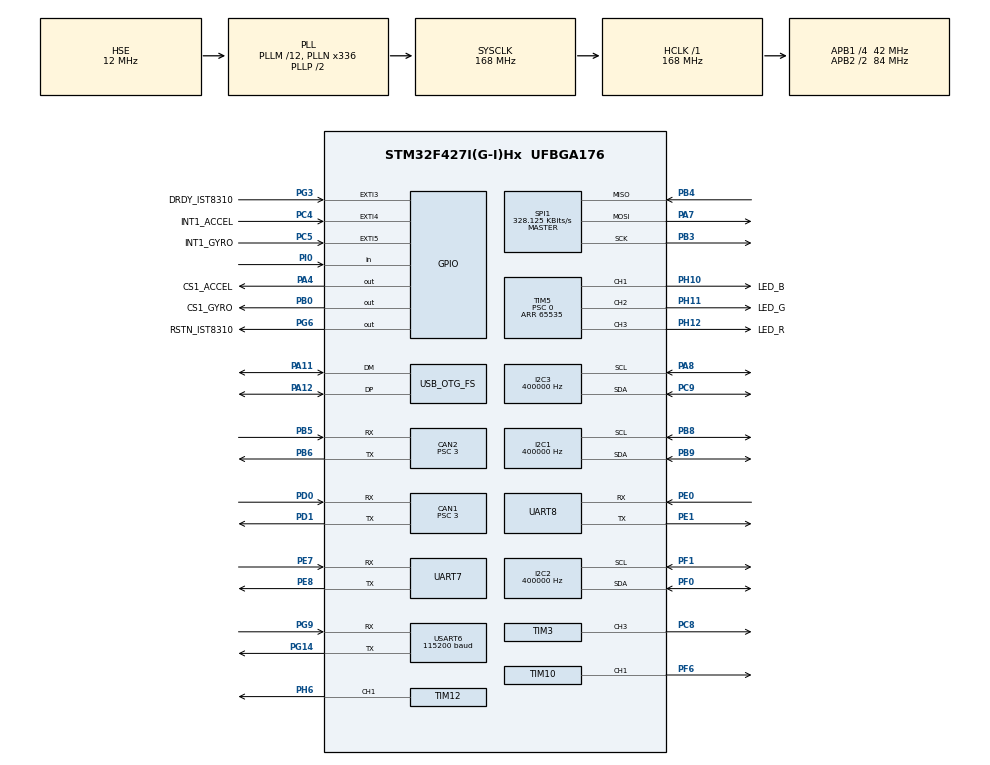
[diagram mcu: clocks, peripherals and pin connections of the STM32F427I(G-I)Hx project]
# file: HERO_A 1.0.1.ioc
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CAN1.ABOM=DISABLE
CAN1.AWUM=DISABLE
CAN1.BS1=CAN_BS1_10TQ
CAN1.BS2=CAN_BS2_3TQ
CAN1.CalculateBaudRate=1000000
CAN1.CalculateTimeBit=999.99
CAN1.CalculateTimeQuantum=71.42857142857143
CAN1.Mode=CAN_MODE_NORMAL
CAN1.NART=DISABLE
CAN1.Prescaler=3
CAN1.RFLM=DISABLE
CAN1.SJW=CAN_SJW_1TQ
CAN1.TTCM=DISABLE
CAN1.TXFP=DISABLE
CAN2.ABOM=DISABLE
CAN2.AWUM=DISABLE
CAN2.BS1=CAN_BS1_10TQ
CAN2.BS2=CAN_BS2_3TQ
CAN2.CalculateBaudRate=1000000
CAN2.CalculateTimeBit=999.99
CAN2.CalculateTimeQuantum=71.42857142857143
CAN2.Mode=CAN_MODE_NORMAL
CAN2.NART=DISABLE
CAN2.Prescaler=3
CAN2.RFLM=DISABLE
CAN2.SJW=CAN_SJW_1TQ
CAN2.TTCM=DISABLE
CAN2.TXFP=DISABLE
Dma.I2C2_TX.4.Direction=DMA_MEMORY_TO_PERIPH
Dma.I2C2_TX.4.FIFOMode=DMA_FIFOMODE_DISABLE
Dma.I2C2_TX.4.Instance=DMA1_Stream7
Dma.I2C2_TX.4.MemDataAlignment=DMA_MDATAALIGN_BYTE
Dma.I2C2_TX.4.MemInc=DMA_MINC_ENABLE
Dma.I2C2_TX.4.Mode=DMA_NORMAL
Dma.I2C2_TX.4.PeriphDataAlignment=DMA_PDATAALIGN_BYTE
Dma.I2C2_TX.4.PeriphInc=DMA_PINC_DISABLE
Dma.I2C2_TX.4.Priority=DMA_PRIORITY_HIGH
Dma.Request0=SPI1_RX
Dma.Request1=SPI1_TX
Dma.Request2=USART6_RX
Dma.Request3=USART6_TX
Dma.Request4=I2C2_TX
Dma.Request5=UART7_RX
Dma.Request6=UART7_TX
Dma.Request7=UART8_RX
Dma.Request8=UART8_TX
Dma.SPI1_RX.0.Direction=DMA_PERIPH_TO_MEMORY
Dma.SPI1_RX.0.FIFOMode=DMA_FIFOMODE_DISABLE
Dma.SPI1_RX.0.Instance=DMA2_Stream2
Dma.SPI1_RX.0.MemDataAlignment=DMA_MDATAALIGN_BYTE
Dma.SPI1_RX.0.MemInc=DMA_MINC_ENABLE
Dma.SPI1_RX.0.Mode=DMA_NORMAL
Dma.SPI1_RX.0.PeriphDataAlignment=DMA_PDATAALIGN_BYTE
Dma.SPI1_RX.0.PeriphInc=DMA_PINC_DISABLE
Dma.SPI1_RX.0.Priority=DMA_PRIORITY_VERY_HIGH
Dma.SPI1_TX.1.Direction=DMA_MEMORY_TO_PERIPH
Dma.SPI1_TX.1.FIFOMode=DMA_FIFOMODE_DISABLE
Dma.SPI1_TX.1.Instance=DMA2_Stream3
Dma.SPI1_TX.1.MemDataAlignment=DMA_MDATAALIGN_BYTE
Dma.SPI1_TX.1.MemInc=DMA_MINC_ENABLE
Dma.SPI1_TX.1.Mode=DMA_NORMAL
Dma.SPI1_TX.1.PeriphDataAlignment=DMA_PDATAALIGN_BYTE
Dma.SPI1_TX.1.PeriphInc=DMA_PINC_DISABLE
Dma.SPI1_TX.1.Priority=DMA_PRIORITY_HIGH
Dma.UART7_RX.5.Direction=DMA_PERIPH_TO_MEMORY
Dma.UART7_RX.5.FIFOMode=DMA_FIFOMODE_DISABLE
Dma.UART7_RX.5.Instance=DMA1_Stream3
Dma.UART7_RX.5.MemDataAlignment=DMA_MDATAALIGN_BYTE
Dma.UART7_RX.5.MemInc=DMA_MINC_ENABLE
Dma.UART7_RX.5.Mode=DMA_CIRCULAR
Dma.UART7_RX.5.PeriphDataAlignment=DMA_PDATAALIGN_BYTE
Dma.UART7_RX.5.PeriphInc=DMA_PINC_DISABLE
Dma.UART7_RX.5.Priority=DMA_PRIORITY_LOW
Dma.UART7_TX.6.Direction=DMA_MEMORY_TO_PERIPH
Dma.UART7_TX.6.FIFOMode=DMA_FIFOMODE_DISABLE
Dma.UART7_TX.6.Instance=DMA1_Stream1
Dma.UART7_TX.6.MemDataAlignment=DMA_MDATAALIGN_BYTE
Dma.UART7_TX.6.MemInc=DMA_MINC_ENABLE
Dma.UART7_TX.6.Mode=DMA_NORMAL
Dma.UART7_TX.6.PeriphDataAlignment=DMA_PDATAALIGN_BYTE
Dma.UART7_TX.6.PeriphInc=DMA_PINC_DISABLE
Dma.UART7_TX.6.Priority=DMA_PRIORITY_LOW
Dma.UART8_RX.7.Direction=DMA_PERIPH_TO_MEMORY
Dma.UART8_RX.7.FIFOMode=DMA_FIFOMODE_DISABLE
Dma.UART8_RX.7.Instance=DMA1_Stream6
Dma.UART8_RX.7.MemDataAlignment=DMA_MDATAALIGN_BYTE
Dma.UART8_RX.7.MemInc=DMA_MINC_ENABLE
Dma.UART8_RX.7.Mode=DMA_NORMAL
Dma.UART8_RX.7.PeriphDataAlignment=DMA_PDATAALIGN_BYTE
Dma.UART8_RX.7.PeriphInc=DMA_PINC_DISABLE
Dma.UART8_RX.7.Priority=DMA_PRIORITY_LOW
Dma.UART8_TX.8.Direction=DMA_MEMORY_TO_PERIPH
Dma.UART8_TX.8.FIFOMode=DMA_FIFOMODE_DISABLE
Dma.UART8_TX.8.Instance=DMA1_Stream0
Dma.UART8_TX.8.MemDataAlignment=DMA_MDATAALIGN_BYTE
Dma.UART8_TX.8.MemInc=DMA_MINC_ENABLE
Dma.UART8_TX.8.Mode=DMA_NORMAL
Dma.UART8_TX.8.PeriphDataAlignment=DMA_PDATAALIGN_BYTE
Dma.UART8_TX.8.PeriphInc=DMA_PINC_DISABLE
Dma.UART8_TX.8.Priority=DMA_PRIORITY_LOW
Dma.USART6_RX.2.Direction=DMA_PERIPH_TO_MEMORY
Dma.USART6_RX.2.FIFOMode=DMA_FIFOMODE_DISABLE
Dma.USART6_RX.2.Instance=DMA2_Stream1
Dma.USART6_RX.2.MemDataAlignment=DMA_MDATAALIGN_BYTE
Dma.USART6_RX.2.MemInc=DMA_MINC_ENABLE
Dma.USART6_RX.2.Mode=DMA_NORMAL
Dma.USART6_RX.2.PeriphDataAlignment=DMA_PDATAALIGN_BYTE
Dma.USART6_RX.2.PeriphInc=DMA_PINC_DISABLE
Dma.USART6_RX.2.Priority=DMA_PRIORITY_HIGH
Dma.USART6_TX.3.Direction=DMA_MEMORY_TO_PERIPH
Dma.USART6_TX.3.FIFOMode=DMA_FIFOMODE_DISABLE
Dma.USART6_TX.3.Instance=DMA2_Stream6
Dma.USART6_TX.3.MemDataAlignment=DMA_MDATAALIGN_BYTE
Dma.USART6_TX.3.MemInc=DMA_MINC_ENABLE
Dma.USART6_TX.3.Mode=DMA_NORMAL
Dma.USART6_TX.3.PeriphDataAlignment=DMA_PDATAALIGN_BYTE
Dma.USART6_TX.3.PeriphInc=DMA_PINC_DISABLE
Dma.USART6_TX.3.Priority=DMA_PRIORITY_MEDIUM
FREERTOS.HEAP_NUMBER=4
FREERTOS.INCLUDE_eTaskGetState=1
FREERTOS.INCLUDE_pcTaskGetTaskName=1
FREERTOS.INCLUDE_uxTaskGetStackHighWaterMark=1
FREERTOS.INCLUDE_uxTaskGetStackHighWaterMark2=0
FREERTOS.INCLUDE_uxTaskPriorityGet=1
FREERTOS.INCLUDE_vTaskCleanUpResources=1
FREERTOS.INCLUDE_vTaskDelay=1
FREERTOS.INCLUDE_vTaskDelayUntil=1
FREERTOS.INCLUDE_vTaskDelete=1
FREERTOS.INCLUDE_vTaskPrioritySet=1
FREERTOS.INCLUDE_vTaskSuspend=1
FREERTOS.INCLUDE_xEventGroupSetBitFromISR=1
FREERTOS.INCLUDE_xQueueGetMutexHolder=1
FREERTOS.INCLUDE_xSemaphoreGetMutexHolder=1
FREERTOS.INCLUDE_xTaskAbortDelay=1
FREERTOS.INCLUDE_xTaskGetCurrentTaskHandle=1
FREERTOS.INCLUDE_xTaskGetHandle=1
FREERTOS.INCLUDE_xTaskGetSchedulerState=1
FREERTOS.INCLUDE_xTaskResumeFromISR=1
FREERTOS.INCLUDE_xTimerPendFunctionCall=1
FREERTOS.MEMORY_ALLOCATION=2
FREERTOS.Tasks01=defaultTask,0,128,StartDefaultTask,Default,NULL,Dynamic,NULL,NULL
FREERTOS.configCHECK_FOR_STACK_OVERFLOW=0
FREERTOS.configENABLE_BACKWARD_COMPATIBILITY=1
FREERTOS.configENABLE_FPU=0
FREERTOS.configGENERATE_RUN_TIME_STATS=0
FREERTOS.configIDLE_SHOULD_YIELD=1
FREERTOS.configLIBRARY_LOWEST_INTERRUPT_PRIORITY=15
FREERTOS.configLIBRARY_MAX_SYSCALL_INTERRUPT_PRIORITY=5
FREERTOS.configMAX_CO_ROUTINE_PRIORITIES=2
FREERTOS.configMAX_PRIORITIES=7
FREERTOS.configMAX_TASK_NAME_LEN=16
FREERTOS.configMINIMAL_STACK_SIZE=128
FREERTOS.configQUEUE_REGISTRY_SIZE=8
FREERTOS.configRECORD_STACK_HIGH_ADDRESS=0
FREERTOS.configTICK_RATE_HZ=1000
FREERTOS.configTIMER_QUEUE_LENGTH=10
FREERTOS.configTIMER_TASK_PRIORITY=2
FREERTOS.configTIMER_TASK_STACK_DEPTH=256
FREERTOS.configTOTAL_HEAP_SIZE=24576
FREERTOS.configUSE_APPLICATION_TASK_TAG=0
FREERTOS.configUSE_COUNTING_SEMAPHORES=0
FREERTOS.configUSE_CO_ROUTINES=0
FREERTOS.configUSE_DAEMON_TASK_STARTUP_HOOK=0
FREERTOS.configUSE_IDLE_HOOK=0
FREERTOS.configUSE_MALLOC_FAILED_HOOK=0
FREERTOS.configUSE_MUTEXES=1
FREERTOS.configUSE_NEWLIB_REENTRANT=0
FREERTOS.configUSE_POSIX_ERRNO=0
FREERTOS.configUSE_PREEMPTION=1
FREERTOS.configUSE_RECURSIVE_MUTEXES=0
FREERTOS.configUSE_STATS_FORMATTING_FUNCTIONS=0
FREERTOS.configUSE_TASK_NOTIFICATIONS=1
FREERTOS.configUSE_TICKLESS_IDLE=0
FREERTOS.configUSE_TICK_HOOK=0
FREERTOS.configUSE_TRACE_FACILITY=0
FREERTOS.copyHeapFile=1
I2C1.AddressingMode=I2C_ADDRESSINGMODE_7BIT
I2C1.ClockSpeed=400000
I2C1.DualAddressMode=I2C_DUALADDRESS_DISABLE
I2C1.DutyCycle=I2C_DUTYCYCLE_2
I2C1.GeneralCallMode=I2C_GENERALCALL_DISABLE
I2C1.I2C_Mode=I2C_Fast
I2C1.NoStretchMode=I2C_NOSTRETCH_DISABLE
I2C1.OwnAddress=0
I2C2.AddressingMode=I2C_ADDRESSINGMODE_7BIT
I2C2.ClockSpeed=400000
I2C2.DualAddressMode=I2C_DUALADDRESS_DISABLE
I2C2.DutyCycle=I2C_DUTYCYCLE_2
I2C2.GeneralCallMode=I2C_GENERALCALL_DISABLE
I2C2.I2C_Mode=I2C_Fast
I2C2.NoStretchMode=I2C_NOSTRETCH_DISABLE
I2C2.OwnAddress=0
I2C3.AddressingMode=I2C_ADDRESSINGMODE_7BIT
I2C3.ClockSpeed=400000
I2C3.DualAddressMode=I2C_DUALADDRESS_DISABLE
I2C3.DutyCycle=I2C_DUTYCYCLE_2
I2C3.GeneralCallMode=I2C_GENERALCALL_DISABLE
I2C3.I2C_Mode=I2C_Fast
I2C3.NoStretchMode=I2C_NOSTRETCH_DISABLE
I2C3.OwnAddress=0
Mcu.Family=STM32F4
Mcu.Name=STM32F427I(G-I)Hx
Mcu.Package=UFBGA176
NVIC.CAN1_RX0_IRQn=true\:5\:0\:false\:false\:true\:true\:true\:true
NVIC.CAN2_RX0_IRQn=true\:5\:0\:false\:false\:true\:true\:true\:true
NVIC.DMA1_Stream0_IRQn=true\:5\:0\:false\:false\:true\:true\:false\:true
NVIC.DMA1_Stream1_IRQn=true\:5\:0\:false\:false\:true\:true\:false\:true
NVIC.DMA1_Stream3_IRQn=true\:5\:0\:false\:false\:true\:true\:false\:true
NVIC.DMA1_Stream6_IRQn=true\:5\:0\:false\:false\:true\:true\:false\:true
NVIC.DMA1_Stream7_IRQn=true\:5\:0\:false\:false\:true\:true\:false\:true
NVIC.DMA2_Stream1_IRQn=true\:5\:0\:false\:false\:true\:true\:false\:true
NVIC.DMA2_Stream2_IRQn=true\:5\:0\:true\:false\:false\:true\:false\:true
NVIC.DMA2_Stream3_IRQn=true\:5\:0\:true\:false\:false\:true\:false\:true
NVIC.DMA2_Stream6_IRQn=true\:5\:0\:false\:false\:true\:true\:false\:true
NVIC.EXTI3_IRQn=true\:5\:0\:true\:false\:true\:true\:true\:true
NVIC.EXTI4_IRQn=true\:5\:0\:true\:false\:true\:true\:true\:true
NVIC.EXTI9_5_IRQn=true\:5\:0\:true\:false\:true\:true\:true\:true
NVIC.HASH_RNG_IRQn=true\:5\:0\:true\:false\:true\:true\:true\:true
NVIC.OTG_FS_IRQn=true\:5\:0\:false\:false\:true\:true\:true\:true
NVIC.PriorityGroup=NVIC_PRIORITYGROUP_4
NVIC.TIM8_TRG_COM_TIM14_IRQn=true\:15\:0\:false\:false\:true\:false\:true\:true
NVIC.TimeBase=TIM8_TRG_COM_TIM14_IRQn
NVIC.TimeBaseIP=TIM14
NVIC.UART7_IRQn=true\:5\:0\:false\:false\:true\:true\:true\:true
NVIC.UART8_IRQn=true\:5\:0\:false\:false\:true\:true\:true\:true
NVIC.USART6_IRQn=true\:5\:0\:false\:false\:true\:true\:true\:true
PA11.Mode=Device_Only
PA11.Signal=USB_OTG_FS_DM
PA12.Mode=Device_Only
PA12.Signal=USB_OTG_FS_DP
PA13.Mode=Serial_Wire
PA13.Signal=SYS_JTMS-SWDIO
PA14.Mode=Serial_Wire
PA14.Signal=SYS_JTCK-SWCLK
PA4.GPIO_Label=CS1_ACCEL
PA4.GPIO_PuPd=GPIO_PULLUP
PA4.GPIO_Speed=GPIO_SPEED_FREQ_HIGH
PA4.PinState=GPIO_PIN_SET
PA4.Signal=GPIO_Output
PA7.GPIO_PuPd=GPIO_PULLUP
PA7.Mode=Full_Duplex_Master
PA7.Signal=SPI1_MOSI
PA8.GPIO_Pu=GPIO_PULLUP
PA8.Mode=I2C
PA8.Signal=I2C3_SCL
PB0.GPIO_Label=CS1_GYRO
PB0.GPIO_PuPd=GPIO_PULLUP
PB0.GPIO_Speed=GPIO_SPEED_FREQ_HIGH
PB0.PinState=GPIO_PIN_SET
PB0.Signal=GPIO_Output
PB3.GPIO_PuPd=GPIO_PULLUP
PB3.Mode=Full_Duplex_Master
PB3.Signal=SPI1_SCK
PB4.GPIO_PuPd=GPIO_PULLUP
PB4.Mode=Full_Duplex_Master
PB4.Signal=SPI1_MISO
PB5.Mode=CAN_Activate
PB5.Signal=CAN2_RX
PB6.Mode=CAN_Activate
PB6.Signal=CAN2_TX
PB8.GPIO_Pu=GPIO_PULLUP
PB8.Mode=I2C
PB8.Signal=I2C1_SCL
PB9.GPIO_Pu=GPIO_PULLUP
PB9.Mode=I2C
PB9.Signal=I2C1_SDA
PC4.GPIO_Label=INT1_ACCEL
PC4.GPIO_ModeDefaultEXTI=GPIO_MODE_IT_FALLING
PC4.GPIO_PuPd=GPIO_PULLUP
PC4.Signal=GPXTI4
PC5.GPIO_Label=INT1_GYRO
PC5.GPIO_ModeDefaultEXTI=GPIO_MODE_IT_FALLING
PC5.GPIO_PuPd=GPIO_PULLUP
PC5.Signal=GPXTI5
PC8.Signal=S_TIM3_CH3
PC9.GPIO_Pu=GPIO_PULLUP
PC9.Mode=I2C
PC9.Signal=I2C3_SDA
PD0.Mode=CAN_Activate
PD0.Signal=CAN1_RX
PD1.Mode=CAN_Activate
PD1.Signal=CAN1_TX
PE0.Mode=Asynchronous
PE0.Signal=UART8_RX
PE1.Mode=Asynchronous
PE1.Signal=UART8_TX
PE7.Mode=Asynchronous
PE7.Signal=UART7_RX
PE8.Mode=Asynchronous
PE8.Signal=UART7_TX
PF0.GPIO_Pu=GPIO_PULLUP
PF0.Mode=I2C
PF0.Signal=I2C2_SDA
PF1.GPIO_Pu=GPIO_PULLUP
PF1.Mode=I2C
PF1.Signal=I2C2_SCL
PF6.GPIO_PuPd=GPIO_PULLUP
PF6.GPIO_Speed=GPIO_SPEED_FREQ_HIGH
PF6.Signal=S_TIM10_CH1
PG14.Mode=Asynchronous
PG14.Signal=USART6_TX
PG3.GPIO_Label=DRDY_IST8310
PG3.GPIO_ModeDefaultEXTI=GPIO_MODE_IT_FALLING
PG3.GPIO_PuPd=GPIO_PULLUP
PG3.Signal=GPXTI3
PG6.GPIO_Label=RSTN_IST8310
PG6.GPIO_PuPd=GPIO_PULLUP
PG6.GPIO_Speed=GPIO_SPEED_FREQ_MEDIUM
PG6.PinState=GPIO_PIN_SET
PG6.Signal=GPIO_Output
PG9.Mode=Asynchronous
PG9.Signal=USART6_RX
PH0/OSC_IN.Mode=HSE-External-Oscillator
PH0/OSC_IN.Signal=RCC_OSC_IN
PH1/OSC_OUT.Mode=HSE-External-Oscillator
PH1/OSC_OUT.Signal=RCC_OSC_OUT
PH10.GPIO_Label=LED_B
PH10.GPIO_PuPd=GPIO_PULLUP
PH10.GPIO_Speed=GPIO_SPEED_FREQ_HIGH
PH10.Signal=S_TIM5_CH1
PH11.GPIO_Label=LED_G
PH11.GPIO_PuPd=GPIO_PULLUP
PH11.GPIO_Speed=GPIO_SPEED_FREQ_HIGH
PH11.Signal=S_TIM5_CH2
PH12.GPIO_Label=LED_R
PH12.GPIO_PuPd=GPIO_PULLUP
PH12.GPIO_Speed=GPIO_SPEED_FREQ_HIGH
PH12.Signal=S_TIM5_CH3
PH6.Signal=S_TIM12_CH1
PI0.GPIO_PuPd=GPIO_PULLDOWN
PI0.Signal=GPIO_Input
ProjectManager.HeapSize=0x2000
ProjectManager.StackSize=0x4000
ProjectManager.TargetToolchain=MDK-ARM V5
RCC.48MHZClocksFreq_Value=48000000
RCC.AHBFreq_Value=168000000
RCC.APB1CLKDivider=RCC_HCLK_DIV4
RCC.APB1Freq_Value=42000000
RCC.APB1TimFreq_Value=84000000
RCC.APB2CLKDivider=RCC_HCLK_DIV2
RCC.APB2Freq_Value=84000000
RCC.APB2TimFreq_Value=168000000
RCC.CortexFreq_Value=168000000
RCC.FLatency=FLASH_LATENCY_5
RCC.HCLKFreq_Value=168000000
RCC.HSE_VALUE=12000000
RCC.HSI_VALUE=16000000
RCC.LSE_VALUE=32768
RCC.PLLM=12
RCC.PLLN=336
RCC.PLLQ=7
RCC.PWR_Regulator_Voltage_Scale=PWR_REGULATOR_VOLTAGE_SCALE1
RCC.SYSCLKFreq_VALUE=168000000
RCC.SYSCLKSource=RCC_SYSCLKSOURCE_PLLCLK
RCC.VCOOutputFreq_Value=336000000
SH.S_TIM10_CH1.0=TIM10_CH1,PWM Generation1 CH1
SH.S_TIM12_CH1.0=TIM12_CH1,PWM Generation1 CH1
SH.S_TIM3_CH3.0=TIM3_CH3,PWM Generation3 CH3
SH.S_TIM5_CH1.0=TIM5_CH1,PWM Generation1 CH1
SH.S_TIM5_CH2.0=TIM5_CH2,PWM Generation2 CH2
SH.S_TIM5_CH3.0=TIM5_CH3,PWM Generation3 CH3
SPI1.BaudRatePrescaler=SPI_BAUDRATEPRESCALER_256
SPI1.CLKPhase=SPI_PHASE_2EDGE
SPI1.CLKPolarity=SPI_POLARITY_HIGH
SPI1.CRCCalculation=SPI_CRCCALCULATION_DISABLE
SPI1.CalculateBaudRate=328.125 KBits/s
SPI1.DataSize=SPI_DATASIZE_8BIT
SPI1.Direction=SPI_DIRECTION_2LINES
SPI1.FirstBit=SPI_FIRSTBIT_MSB
SPI1.Mode=SPI_MODE_MASTER
SPI1.NSS=SPI_NSS_SOFT
SPI1.TIMode=SPI_TIMODE_DISABLE
SPI1.VirtualType=VM_MASTER
TIM10.AutoReloadPreload=TIM_AUTORELOAD_PRELOAD_DISABLE
TIM10.Channel=TIM_CHANNEL_1
TIM10.ClockDivision=TIM_CLOCKDIVISION_DIV1
TIM10.CounterMode=TIM_COUNTERMODE_UP
TIM10.OC1Preload_PWM=ENABLE
TIM10.OCFastMode_PWM=TIM_OCFAST_DISABLE
TIM10.OCMode_PWM=TIM_OCMODE_PWM1
TIM10.OCPolarity_1=TIM_OCPOLARITY_HIGH
TIM10.Period=4999
TIM10.Prescaler=0
TIM10.Pulse=0
TIM12.Channel-PWM\ Generation1\ CH1=TIM_CHANNEL_1
TIM12.Period=310
TIM12.Prescaler=99
TIM3.AutoReloadPreload=TIM_AUTORELOAD_PRELOAD_DISABLE
TIM3.Channel-PWM\ Generation3\ CH3=TIM_CHANNEL_3
TIM3.ClockDivision=TIM_CLOCKDIVISION_DIV1
TIM3.CounterMode=TIM_COUNTERMODE_UP
TIM3.OC3Preload_PWM=ENABLE
TIM3.OCFastMode_PWM-PWM\ Generation3\ CH3=TIM_OCFAST_DISABLE
TIM3.OCMode_PWM-PWM\ Generation3\ CH3=TIM_OCMODE_PWM1
TIM3.OCPolarity_3=TIM_OCPOLARITY_HIGH
TIM3.Period=8399
TIM3.Prescaler=0
TIM3.Pulse-PWM\ Generation3\ CH3=0
TIM3.TIM_MasterOutputTrigger=TIM_TRGO_RESET
TIM3.TIM_MasterSlaveMode=TIM_MASTERSLAVEMODE_DISABLE
TIM5.AutoReloadPreload=TIM_AUTORELOAD_PRELOAD_DISABLE
TIM5.Channel-PWM\ Generation1\ CH1=TIM_CHANNEL_1
TIM5.Channel-PWM\ Generation2\ CH2=TIM_CHANNEL_2
TIM5.Channel-PWM\ Generation3\ CH3=TIM_CHANNEL_3
TIM5.ClockDivision=TIM_CLOCKDIVISION_DIV1
TIM5.CounterMode=TIM_COUNTERMODE_UP
TIM5.OC1Preload_PWM=ENABLE
TIM5.OC2Preload_PWM=ENABLE
TIM5.OC3Preload_PWM=ENABLE
TIM5.OCFastMode_PWM-PWM\ Generation1\ CH1=TIM_OCFAST_DISABLE
TIM5.OCFastMode_PWM-PWM\ Generation2\ CH2=TIM_OCFAST_DISABLE
TIM5.OCFastMode_PWM-PWM\ Generation3\ CH3=TIM_OCFAST_DISABLE
TIM5.OCMode_PWM-PWM\ Generation1\ CH1=TIM_OCMODE_PWM1
TIM5.OCMode_PWM-PWM\ Generation2\ CH2=TIM_OCMODE_PWM1
TIM5.OCMode_PWM-PWM\ Generation3\ CH3=TIM_OCMODE_PWM1
TIM5.OCPolarity_1=TIM_OCPOLARITY_HIGH
TIM5.OCPolarity_2=TIM_OCPOLARITY_HIGH
TIM5.OCPolarity_3=TIM_OCPOLARITY_HIGH
TIM5.Period=65535
TIM5.Prescaler=0
TIM5.Pulse-PWM\ Generation1\ CH1=0
TIM5.Pulse-PWM\ Generation2\ CH2=0
TIM5.Pulse-PWM\ Generation3\ CH3=0
TIM5.TIM_MasterOutputTrigger=TIM_TRGO_RESET
TIM5.TIM_MasterSlaveMode=TIM_MASTERSLAVEMODE_DISABLE
UART7.VirtualMode=Asynchronous
UART8.VirtualMode=Asynchronous
USART6.BaudRate=115200
USART6.Mode=MODE_TX_RX
USART6.OverSampling=UART_OVERSAMPLING_16
USART6.Parity=PARITY_NONE
USART6.StopBits=STOPBITS_1
USART6.VirtualMode=VM_ASYNC
USART6.WordLength=WORDLENGTH_8B
USB_DEVICE.APP_RX_DATA_SIZE-CDC_FS=2048
USB_DEVICE.APP_TX_DATA_SIZE-CDC_FS=2048
USB_DEVICE.CLASS_NAME_FS=CDC
USB_DEVICE.CONFIGURATION_STRING_CDC_FS=CDC Config
USB_DEVICE.INTERFACE_STRING_CDC_FS=CDC Interface
USB_DEVICE.LANGID_STRING-CDC_FS=1033
USB_DEVICE.MANUFACTURER_STRING-CDC_FS=STMicroelectronics
USB_DEVICE.PID_CDC_FS=22336
USB_DEVICE.PRODUCT_STRING_CDC_FS=STM32 Virtual ComPort
USB_DEVICE.USBD_DEBUG_LEVEL-CDC_FS=0
USB_DEVICE.USBD_MAX_NUM_CONFIGURATION-CDC_FS=1
USB_DEVICE.USBD_MAX_NUM_INTERFACES-CDC_FS=1
USB_DEVICE.USBD_MAX_STR_DESC_SIZ-CDC_FS=512
USB_DEVICE.USBD_SELF_POWERED-CDC_FS=1
USB_DEVICE.VID-CDC_FS=1155
USB_DEVICE.VirtualMode-CDC_FS=Cdc
USB_DEVICE.VirtualModeFS=Cdc_FS
USB_OTG_FS.Sof_enable=DISABLE
USB_OTG_FS.VirtualMode=Device_Only
USB_OTG_FS.low_power_enable=DISABLE
USB_OTG_FS.lpm_enable=DISABLE
USB_OTG_FS.vbus_sensing_enable=DISABLE
VP_CRC_VS_CRC.Mode=CRC_Activate
VP_FREERTOS_VS_CMSIS_V1.Mode=CMSIS_V1
VP_RNG_VS_RNG.Mode=RNG_Activate
VP_SYS_VS_tim14.Mode=TIM14
VP_TIM10_VS_ClockSourceINT.Mode=Enable_Timer
VP_TIM5_VS_ClockSourceINT.Mode=Internal
VP_USB_DEVICE_VS_USB_DEVICE_CDC_FS.Mode=CDC_FS
board=custom

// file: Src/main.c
/* USER CODE BEGIN Header */
/**
  ******************************************************************************
  * @file           : main.c
  * @brief          : Main program body
  ******************************************************************************
  * @attention
  *
  * <h2><center>&copy; Copyright (c) 2022 STMicroelectronics.
  * All rights reserved.</center></h2>
  *
  * This software component is licensed by ST under Ultimate Liberty license
  * SLA0044, the "License"; You may not use this file except in compliance with
  * the License. You may obtain a copy of the License at:
  *                             www.st.com/SLA0044
  *
  ******************************************************************************
  */
/* USER CODE END Header */
#include "main.h"
#include "cmsis_os.h"
#include "can.h"
#include "crc.h"
#include "dma.h"
#include "i2c.h"
#include "rng.h"
#include "spi.h"
#include "tim.h"
#include "usart.h"
#include "usb_device.h"
#include "gpio.h"

/* USER CODE BEGIN Includes */

#include "INS_task.h"
#include "bsp_can.h"
#include "CAN_receive.h"
#include "pid.h"
#include "MOTOR_ANGLE_PID.h"
#include "remote_control.h"
#include "referee.h"
#include "protocol.h"
#include "decoder.h"
#include "usart.h"
#include "bsp_delay.h"
#include "bsp_usart.h"
#include "bsp_buzzer.h"
/* USER CODE END Includes */

void SystemClock_Config(void);
void MX_FREERTOS_Init(void);

int main(void)
{

  /* MCU Configuration--------------------------------------------------------*/

  /* Reset of all peripherals, Initializes the Flash interface and the Systick. */
  HAL_Init();

  /* Configure the system clock */
  SystemClock_Config();

  /* Initialize all configured peripherals */
  MX_GPIO_Init();
  MX_DMA_Init();
  MX_SPI1_Init();
  MX_TIM5_Init();
  MX_I2C3_Init();
  MX_TIM10_Init();
  MX_CAN1_Init();
  MX_CAN2_Init();
  MX_USART6_UART_Init();
  MX_I2C1_Init();
  MX_I2C2_Init();
  MX_CRC_Init();
  MX_TIM3_Init();
  MX_UART7_Init();
  MX_UART8_Init();
  MX_TIM12_Init();
  MX_RNG_Init();
  /* USER CODE BEGIN 2 */
    delay_init();
		can_filter_init();
		usart7_tx_dma_init();
	__HAL_UART_ENABLE_IT(&huart6, UART_IT_IDLE);
	HAL_UART_Receive_DMA(&huart6, referee_buff, 256);

		__HAL_UART_ENABLE_IT(&huart7, UART_IT_IDLE);
	HAL_UART_Receive_DMA(&huart7, data_buffer, 128);

//	HAL_TIM_PWM_Start(&htim12,TIM_CHANNEL_1);   //������

  /* USER CODE END 2 */

  /* Call init function for freertos objects (in freertos.c) */
  MX_FREERTOS_Init();
  /* Start scheduler */
  osKernelStart();

  /* We should never get here as control is now taken by the scheduler */
  /* Infinite loop */
  while (1)
  {

  }
}

void SystemClock_Config(void)
{
  RCC_OscInitTypeDef RCC_OscInitStruct = {0};
  RCC_ClkInitTypeDef RCC_ClkInitStruct = {0};

  /** Configure the main internal regulator output voltage
  */
  __HAL_RCC_PWR_CLK_ENABLE();
  __HAL_PWR_VOLTAGESCALING_CONFIG(PWR_REGULATOR_VOLTAGE_SCALE1);
  /** Initializes the RCC Oscillators according to the specified parameters
  * in the RCC_OscInitTypeDef structure.
  */
  RCC_OscInitStruct.OscillatorType = RCC_OSCILLATORTYPE_HSE;
  RCC_OscInitStruct.HSEState = RCC_HSE_ON;
  RCC_OscInitStruct.PLL.PLLState = RCC_PLL_ON;
  RCC_OscInitStruct.PLL.PLLSource = RCC_PLLSOURCE_HSE;
  RCC_OscInitStruct.PLL.PLLM = 12;
  RCC_OscInitStruct.PLL.PLLN = 336;
  RCC_OscInitStruct.PLL.PLLP = RCC_PLLP_DIV2;
  RCC_OscInitStruct.PLL.PLLQ = 7;
  if (HAL_RCC_OscConfig(&RCC_OscInitStruct) != HAL_OK)
  {
    Error_Handler();
  }
  /** Initializes the CPU, AHB and APB buses clocks
  */
  RCC_ClkInitStruct.ClockType = RCC_CLOCKTYPE_HCLK|RCC_CLOCKTYPE_SYSCLK
                              |RCC_CLOCKTYPE_PCLK1|RCC_CLOCKTYPE_PCLK2;
  RCC_ClkInitStruct.SYSCLKSource = RCC_SYSCLKSOURCE_PLLCLK;
  RCC_ClkInitStruct.AHBCLKDivider = RCC_SYSCLK_DIV1;
  RCC_ClkInitStruct.APB1CLKDivider = RCC_HCLK_DIV4;
  RCC_ClkInitStruct.APB2CLKDivider = RCC_HCLK_DIV2;

  if (HAL_RCC_ClockConfig(&RCC_ClkInitStruct, FLASH_LATENCY_5) != HAL_OK)
  {
    Error_Handler();
  }
}

void HAL_TIM_PeriodElapsedCallback(TIM_HandleTypeDef *htim)
{
  if (htim->Instance == TIM14) {
    HAL_IncTick();
  }
}

void Error_Handler(void)
{
  /* USER CODE BEGIN Error_Handler_Debug */
//  /* User can add his own implementation to report the HAL error return state */
//  __disable_irq();
//  while (1)
//  {
//  }
  /* USER CODE END Error_Handler_Debug */
}

/************************ (C) COPYRIGHT STMicroelectronics *****END OF FILE****/

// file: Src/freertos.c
/* USER CODE BEGIN Header */
/**
  ******************************************************************************
  * File Name          : freertos.c
  * Description        : Code for freertos applications
  ******************************************************************************
  * @attention
  *
  * <h2><center>&copy; Copyright (c) 2022 STMicroelectronics.
  * All rights reserved.</center></h2>
  *
  * This software component is licensed by ST under Ultimate Liberty license
  * SLA0044, the "License"; You may not use this file except in compliance with
  * the License. You may obtain a copy of the License at:
  *                             www.st.com/SLA0044
  *
  ******************************************************************************
  */
/* USER CODE END Header */

#include "FreeRTOS.h"
#include "task.h"
#include "main.h"
#include "cmsis_os.h"

/* USER CODE BEGIN Includes */
#include "led_flow_task.h"
#include "chassic_task.h"
#include "ui_task.h"
#include "communicate_task.h"
/* USER CODE END Includes */

/* USER CODE BEGIN PD */

osThreadId led_RGB_flow_handle;
osThreadId chassicHandle;
osThreadId ui_task_handle;
osThreadId communicateHandle;
osThreadId statusUpdateHandle;
/* USER CODE END PD */

/* USER CODE BEGIN PM */
void statusUpdateTask(void const * argument);
/* USER CODE END PM */

osThreadId defaultTaskHandle;

void StartDefaultTask(void const * argument);

extern void MX_USB_DEVICE_Init(void);
void MX_FREERTOS_Init(void); /* (MISRA C 2004 rule 8.1) */

/* GetIdleTaskMemory prototype (linked to static allocation support) */
void vApplicationGetIdleTaskMemory( StaticTask_t **ppxIdleTaskTCBBuffer, StackType_t **ppxIdleTaskStackBuffer, uint32_t *pulIdleTaskStackSize );

/* GetTimerTaskMemory prototype (linked to static allocation support) */
void vApplicationGetTimerTaskMemory( StaticTask_t **ppxTimerTaskTCBBuffer, StackType_t **ppxTimerTaskStackBuffer, uint32_t *pulTimerTaskStackSize );

/* USER CODE BEGIN GET_IDLE_TASK_MEMORY */
static StaticTask_t xIdleTaskTCBBuffer;
static StackType_t xIdleStack[configMINIMAL_STACK_SIZE];

void vApplicationGetIdleTaskMemory( StaticTask_t **ppxIdleTaskTCBBuffer, StackType_t **ppxIdleTaskStackBuffer, uint32_t *pulIdleTaskStackSize )
{
  *ppxIdleTaskTCBBuffer = &xIdleTaskTCBBuffer;
  *ppxIdleTaskStackBuffer = &xIdleStack[0];
  *pulIdleTaskStackSize = configMINIMAL_STACK_SIZE;
  /* place for user code */
}
/* USER CODE END GET_IDLE_TASK_MEMORY */

/* USER CODE BEGIN GET_TIMER_TASK_MEMORY */
static StaticTask_t xTimerTaskTCBBuffer;
static StackType_t xTimerStack[configTIMER_TASK_STACK_DEPTH];

void vApplicationGetTimerTaskMemory( StaticTask_t **ppxTimerTaskTCBBuffer, StackType_t **ppxTimerTaskStackBuffer, uint32_t *pulTimerTaskStackSize )
{
  *ppxTimerTaskTCBBuffer = &xTimerTaskTCBBuffer;
  *ppxTimerTaskStackBuffer = &xTimerStack[0];
  *pulTimerTaskStackSize = configTIMER_TASK_STACK_DEPTH;
  /* place for user code */
}
/* USER CODE END GET_TIMER_TASK_MEMORY */

void MX_FREERTOS_Init(void) {

  /* Create the thread(s) */
  /* definition and creation of defaultTask */
  osThreadDef(defaultTask, StartDefaultTask, osPriorityNormal, 0, 128);
  defaultTaskHandle = osThreadCreate(osThread(defaultTask), NULL);

  /* USER CODE BEGIN RTOS_THREADS */
  osThreadDef(led, led_RGB_flow_task, osPriorityNormal, 0, 256);
  led_RGB_flow_handle = osThreadCreate(osThread(led), NULL);

	osThreadDef(ChassisTask, chassic_task, osPriorityAboveNormal, 0, 512);
  chassicHandle = osThreadCreate(osThread(ChassisTask), NULL);

	osThreadDef(UITask, ui_task, osPriorityNormal, 0, 256);
	ui_task_handle = osThreadCreate(osThread(UITask), NULL);

	osThreadDef(communicate, communicate_task, osPriorityIdle, 0, 128);
  communicateHandle = osThreadCreate(osThread(communicate), NULL);

	osThreadDef(statusUpdate, statusUpdateTask, osPriorityNormal, 0, 128);
  statusUpdateHandle = osThreadCreate(osThread(statusUpdate), NULL);

  /* USER CODE END RTOS_THREADS */

}

void StartDefaultTask(void const * argument)
{
  /* init code for USB_DEVICE */
  MX_USB_DEVICE_Init();
  for(;;)
  {
    osDelay(1);
  }
}

/************************ (C) COPYRIGHT STMicroelectronics *****END OF FILE****/
